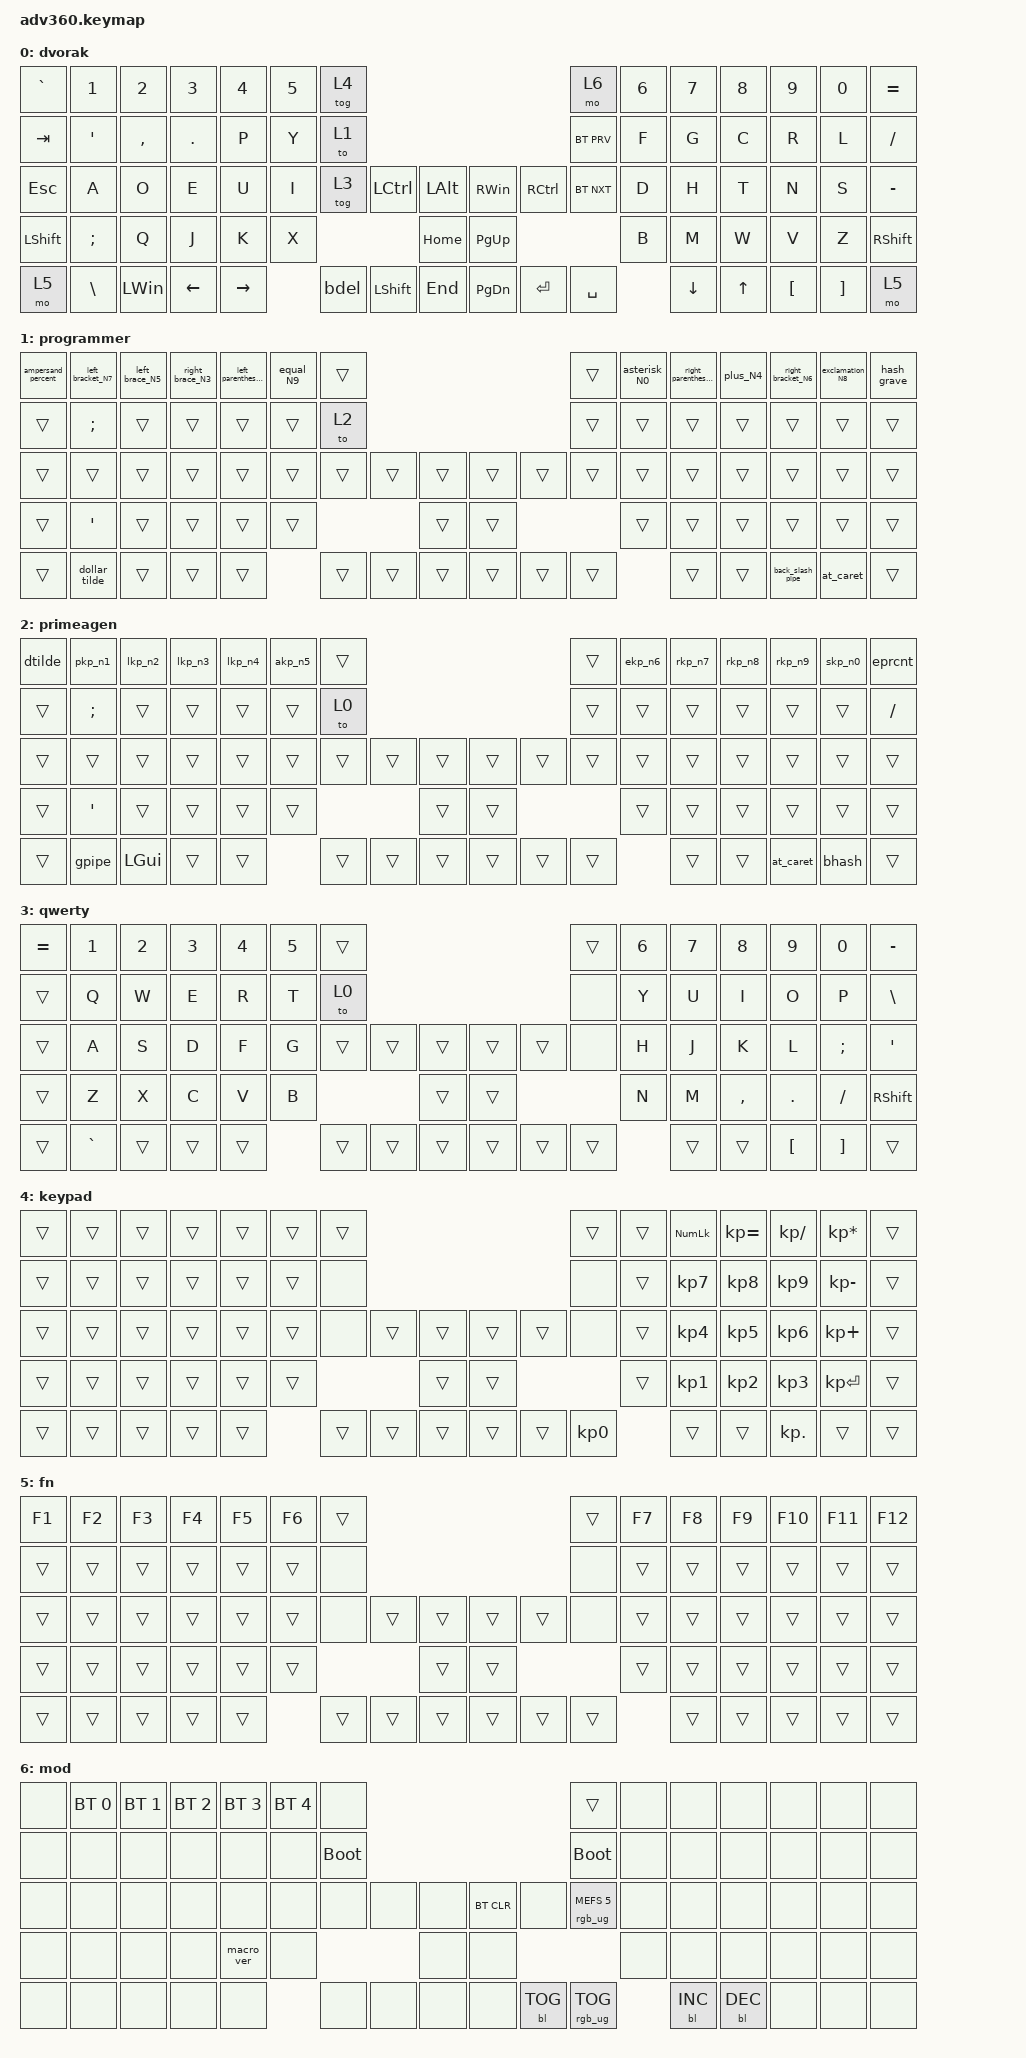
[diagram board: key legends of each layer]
#include <behaviors.dtsi>
#include <dt-bindings/zmk/backlight.h>
#include <dt-bindings/zmk/bt.h>
#include <dt-bindings/zmk/keys.h>
#include <dt-bindings/zmk/rgb.h>

/ {
    behaviors {
        #include "macros.dtsi"
      #include "version.dtsi"
      #ifndef VERSION_MACRO

        macro_ver: macro_ver {
            compatible = "zmk,behavior-macro";
            label = "macro_version";
            #binding-cells = <0>;
            bindings = <&kp RET>;
        };

        #endif

        hm: homerow_mods {
            compatible = "zmk,behavior-hold-tap";
            label = "HOMEROW_MODS";
            #binding-cells = <2>;
            tapping-term-ms = <200>;
            quick_tap_ms = <175>;
            flavor = "tap-preferred";
            bindings = <&kp>, <&kp>;
        };

        ampersand_percent: ampersand_percent {
            compatible = "zmk,behavior-mod-morph";
            label = "AMPERSAND_PERCENT";
            bindings = <&kp AMPERSAND>, <&kp PERCENT>;

            #binding-cells = <0>;
            mods = <(MOD_LSFT|MOD_RSFT)>;
        };

        left_bracket_N7: left_bracket_N7 {
            compatible = "zmk,behavior-mod-morph";
            label = "LEFT_BRACKET_N7";
            bindings = <&kp LEFT_BRACKET>, <&kp N7>;

            #binding-cells = <0>;
            mods = <(MOD_LSFT|MOD_RSFT)>;
        };

        left_brace_N5: left_brace_N5 {
            compatible = "zmk,behavior-mod-morph";
            label = "LEFT_BRACE_N5";
            bindings = <&kp LEFT_BRACE>, <&kp N5>;

            #binding-cells = <0>;
            mods = <(MOD_LSFT|MOD_RSFT)>;
        };

        right_brace_N3: right_brace_N3 {
            compatible = "zmk,behavior-mod-morph";
            label = "RIGHT_BRACE_N3";
            bindings = <&kp RIGHT_BRACE>, <&kp NUMBER_3>;

            #binding-cells = <0>;
            mods = <(MOD_LSFT|MOD_RSFT)>;
        };

        left_parenthesis_N1: left_parenthesis_N1 {
            compatible = "zmk,behavior-mod-morph";
            label = "LEFT_PARENTHESIS_N1";
            bindings = <&kp LEFT_PARENTHESIS>, <&kp NUMBER_1>;

            #binding-cells = <0>;
            mods = <(MOD_LSFT|MOD_RSFT)>;
        };

        equal_N9: equal_N9 {
            compatible = "zmk,behavior-mod-morph";
            label = "EQUAL_N9";
            bindings = <&kp EQUAL>, <&kp NUMBER_9>;

            #binding-cells = <0>;
            mods = <(MOD_LSFT|MOD_RSFT)>;
        };

        asterisk_N0: asterisk_N0 {
            compatible = "zmk,behavior-mod-morph";
            label = "ASTERISK_N0";
            bindings = <&kp ASTERISK>, <&kp NUMBER_0>;

            #binding-cells = <0>;
            mods = <(MOD_LSFT|MOD_RSFT)>;
        };

        right_parenthesis_N2: right_parenthesis_N2 {
            compatible = "zmk,behavior-mod-morph";
            label = "RIGHT_PARENTHESIS_N2";
            bindings = <&kp RIGHT_PARENTHESIS>, <&kp NUMBER_2>;

            #binding-cells = <0>;
            mods = <(MOD_LSFT|MOD_RSFT)>;
        };

        plus_N4: plus_N4 {
            compatible = "zmk,behavior-mod-morph";
            label = "PLUS_N4";
            bindings = <&kp PLUS>, <&kp NUMBER_4>;

            #binding-cells = <0>;
            mods = <(MOD_LSFT|MOD_RSFT)>;
        };

        right_bracket_N6: right_bracket_N6 {
            compatible = "zmk,behavior-mod-morph";
            label = "RIGHT_BRACKET_N6";
            bindings = <&kp RIGHT_BRACKET>, <&kp NUMBER_6>;

            #binding-cells = <0>;
            mods = <(MOD_LSFT|MOD_RSFT)>;
        };

        exclamation_N8: exclamation_N8 {
            compatible = "zmk,behavior-mod-morph";
            label = "EXCLAMATION_N8";
            bindings = <&kp EXCLAMATION>, <&kp NUMBER_8>;

            #binding-cells = <0>;
            mods = <(MOD_LSFT|MOD_RSFT)>;
        };

        hash_grave: hash_grave {
            compatible = "zmk,behavior-mod-morph";
            label = "HASH_GRAVE";
            bindings = <&kp HASH>, <&kp GRAVE>;

            #binding-cells = <0>;
            mods = <(MOD_LSFT|MOD_RSFT)>;
        };

        dollar_tilde: dollar_tilde {
            compatible = "zmk,behavior-mod-morph";
            label = "DOLLAR_TILDE";
            bindings = <&kp DOLLAR>, <&kp TILDE>;

            #binding-cells = <0>;
            mods = <(MOD_LSFT|MOD_RSFT)>;
        };

        back_slash_pipe: back_slash_pipe {
            compatible = "zmk,behavior-mod-morph";
            label = "BACK_SLASH_PIPE";
            bindings = <&kp BACKSLASH>, <&kp PIPE>;

            #binding-cells = <0>;
            mods = <(MOD_LSFT|MOD_RSFT)>;
        };

        at_caret: at_caret {
            compatible = "zmk,behavior-mod-morph";
            label = "AT_CARET";
            bindings = <&kp AT>, <&kp CARET>;

            #binding-cells = <0>;
            mods = <(MOD_LSFT|MOD_RSFT)>;
        };

        gpipe: gpipe {
            compatible = "zmk,behavior-mod-morph";
            label = "grave_pipe";
            bindings = <&kp GRAVE>, <&kp PIPE>;

            #binding-cells = <0>;
            mods = <(MOD_LSFT|MOD_RSFT)>;
        };

        ppipe: ppipe {
            compatible = "zmk,behavior-mod-morph";
            label = "pipe_pipe";
            bindings = <&kp PIPE>, <&kp PIPE>;

            #binding-cells = <0>;
            mods = <(MOD_LSFT|MOD_RSFT)>;
        };

        pkp_n1: pkp_n1 {
            compatible = "zmk,behavior-mod-morph";
            label = "plus_n1";
            bindings = <&kp N1>, <&kp PLUS>;

            #binding-cells = <0>;
            mods = <(MOD_LSFT|MOD_RSFT)>;
        };

        lkp_n2: lkp_n2 {
            compatible = "zmk,behavior-mod-morph";
            label = "left_bracket_n2";
            bindings = <&kp N2>, <&kp LEFT_BRACKET>;

            #binding-cells = <0>;
            mods = <(MOD_LSFT|MOD_RSFT)>;
        };

        lkp_n3: lkp_n3 {
            compatible = "zmk,behavior-mod-morph";
            label = "left_brace_n3";
            bindings = <&kp N3>, <&kp LEFT_BRACE>;

            #binding-cells = <0>;
            mods = <(MOD_LSFT|MOD_RSFT)>;
        };

        lkp_n4: lkp_n4 {
            compatible = "zmk,behavior-mod-morph";
            label = "left_paren_n4";
            bindings = <&kp N4>, <&kp LEFT_PARENTHESIS>;

            #binding-cells = <0>;
            mods = <(MOD_LSFT|MOD_RSFT)>;
        };

        akp_n5: akp_n5 {
            compatible = "zmk,behavior-mod-morph";
            label = "ampersand_n5";
            bindings = <&kp N5>, <&kp AMPERSAND>;

            #binding-cells = <0>;
            mods = <(MOD_LSFT|MOD_RSFT)>;
        };

        ekp_n6: ekp_n6 {
            compatible = "zmk,behavior-mod-morph";
            label = "equal_n6";
            bindings = <&kp N6>, <&kp EQUAL>;

            #binding-cells = <0>;
            mods = <(MOD_LSFT|MOD_RSFT)>;
        };

        rkp_n7: rkp_n7 {
            compatible = "zmk,behavior-mod-morph";
            label = "right_paren_n7";
            bindings = <&kp N7>, <&kp RIGHT_PARENTHESIS>;

            #binding-cells = <0>;
            mods = <(MOD_LSFT|MOD_RSFT)>;
        };

        rkp_n8: rkp_n8 {
            compatible = "zmk,behavior-mod-morph";
            label = "right_brace_n8";
            bindings = <&kp N8>, <&kp RIGHT_BRACE>;

            #binding-cells = <0>;
            mods = <(MOD_LSFT|MOD_RSFT)>;
        };

        rkp_n9: rkp_n9 {
            compatible = "zmk,behavior-mod-morph";
            label = "right_bracket_n9";
            bindings = <&kp N9>, <&kp RIGHT_BRACKET>;

            #binding-cells = <0>;
            mods = <(MOD_LSFT|MOD_RSFT)>;
        };

        skp_n0: skp_n0 {
            compatible = "zmk,behavior-mod-morph";
            label = "star_n0";
            bindings = <&kp N0>, <&kp ASTERISK>;

            #binding-cells = <0>;
            mods = <(MOD_LSFT|MOD_RSFT)>;
        };

        eprcnt: eprcnt {
            compatible = "zmk,behavior-mod-morph";
            label = "excl_percent";
            bindings = <&kp EXCLAMATION>, <&kp PERCENT>;

            #binding-cells = <0>;
            mods = <(MOD_LSFT|MOD_RSFT)>;
        };

        dtilde: dtilde {
            compatible = "zmk,behavior-mod-morph";
            label = "dllr_tilde";
            bindings = <&kp DOLLAR>, <&kp TILDE>;

            #binding-cells = <0>;
            mods = <(MOD_LSFT|MOD_RSFT)>;
        };

        ggrave: ggrave {
            compatible = "zmk,behavior-mod-morph";
            label = "grave_grave";
            bindings = <&kp GRAVE>, <&kp GRAVE>;

            #binding-cells = <0>;
            mods = <(MOD_LSFT|MOD_RSFT)>;
        };

        bhash: bhash {
            compatible = "zmk,behavior-mod-morph";
            label = "bslsh_hash";
            bindings = <&kp BACKSLASH>, <&kp HASH>;

            #binding-cells = <0>;
            mods = <(MOD_LSFT|MOD_RSFT)>;
        };

        bdel: bdel {
            compatible = "zmk,behavior-mod-morph";
            label = "back_del";
            bindings = <&kp BACKSPACE>, <&kp DELETE>;

            #binding-cells = <0>;
            mods = <(MOD_LSFT|MOD_RSFT)>;
        };

        rph: right_positionalhold {
            compatible = "zmk,behavior-hold-tap";
            label = "RIGHT_POSITIONALHOLD";
            bindings = <&kp>, <&kp>;

            #binding-cells = <2>;
            tapping-term-ms = <400>;
            quick-tap-ms = <200>;
            hold-trigger-key-positions = <1 2 3 4 5 15 16 17 18 19 29 30 31 32 33 47 48 49 50 51 61 62 0 63 64 35 36 52 65 66 67 6 20 34 14 28 46 60>;
            flavor = "balanced";
        };

        lph: left_positionalhold {
            compatible = "zmk,behavior-hold-tap";
            label = "LEFT_POSITIONALHOLD";
            bindings = <&kp>, <&kp>;

            #binding-cells = <2>;
            tapping-term-ms = <400>;
            quick-tap-ms = <200>;
            hold-trigger-key-positions = <8 9 10 11 12 22 23 24 25 26 40 41 42 43 44 54 55 56 57 58 13 74 73 72 71 27 45 7 21 39 37 38 53 68 69 70 59 75>;
            flavor = "balanced";
        };

        long_hm: long_hm {
            compatible = "zmk,behavior-hold-tap";
            label = "LONG_HM";
            #binding-cells = <2>;
            tapping-term-ms = <300>;
            quick_tap_ms = <175>;
            flavor = "tap-preferred";
            bindings = <&kp>, <&kp>;
        };
    };

    macros {
    };

    keymap {
        compatible = "zmk,keymap";

        dvorak {
            bindings = <
&kp GRAVE  &kp N1         &kp N2        &kp N3    &kp N4     &kp N5  &tog 4                                                          &mo 6       &kp N6  &kp N7    &kp N8        &kp N9    &kp N0    &kp EQUAL
&kp TAB    &kp SQT        &kp COMMA     &kp DOT   &kp P      &kp Y   &to 1                                                           &bt BT_PRV  &kp F   &kp G     &kp C         &kp R     &kp L     &kp FSLH
&kp ESC    &kp A          &kp O         &kp E     &kp U      &kp I   &tog 3  &kp LCTRL       &kp LALT      &kp RIGHT_WIN  &kp RCTRL  &bt BT_NXT  &kp D   &kp H     &kp T         &kp N     &kp S     &kp MINUS
&kp LSHFT  &kp SEMI       &kp Q         &kp J     &kp K      &kp X                           &kp HOME      &kp PG_UP                             &kp B   &kp M     &kp W         &kp V     &kp Z     &kp RSHFT
&mo 5      &kp BACKSLASH  &kp LEFT_WIN  &kp LEFT  &kp RIGHT          &bdel   &kp LEFT_SHIFT  &kp END       &kp PG_DN      &kp ENTER  &kp SPACE           &kp DOWN  &kp UP_ARROW  &kp LBKT  &kp RBKT  &mo 5
            >;
        };

        programmer {
            bindings = <
&ampersand_percent  &left_bracket_N7  &left_brace_N5  &right_brace_N3  &left_parenthesis_N1  &equal_N9  &trans                                      &trans  &asterisk_N0  &right_parenthesis_N2  &plus_N4  &right_bracket_N6  &exclamation_N8  &hash_grave
&trans              &kp SEMI          &trans          &trans           &trans                &trans     &to 2                                       &trans  &trans        &trans                 &trans    &trans             &trans           &trans
&trans              &trans            &trans          &trans           &trans                &trans     &trans  &trans  &trans      &trans  &trans  &trans  &trans        &trans                 &trans    &trans             &trans           &trans
&trans              &kp SQT           &trans          &trans           &trans                &trans                     &trans      &trans                  &trans        &trans                 &trans    &trans             &trans           &trans
&trans              &dollar_tilde     &trans          &trans           &trans                           &trans  &trans  &trans      &trans  &trans  &trans                &trans                 &trans    &back_slash_pipe   &at_caret        &trans
            >;
        };

        primeagen {
            bindings = <
&dtilde  &pkp_n1   &lkp_n2       &lkp_n3  &lkp_n4  &akp_n5  &trans                                      &trans  &ekp_n6  &rkp_n7  &rkp_n8  &rkp_n9    &skp_n0  &eprcnt
&trans   &kp SEMI  &trans        &trans   &trans   &trans   &to 0                                       &trans  &trans   &trans   &trans   &trans     &trans   &kp SLASH
&trans   &trans    &trans        &trans   &trans   &trans   &trans  &trans  &trans      &trans  &trans  &trans  &trans   &trans   &trans   &trans     &trans   &trans
&trans   &kp APOS  &trans        &trans   &trans   &trans                   &trans      &trans                  &trans   &trans   &trans   &trans     &trans   &trans
&trans   &gpipe    &kp LEFT_GUI  &trans   &trans            &trans  &trans  &trans      &trans  &trans  &trans           &trans   &trans   &at_caret  &bhash   &trans
            >;
        };

        qwerty {
            bindings = <
&kp EQUAL  &kp N1     &kp N2  &kp N3  &kp N4  &kp N5  &trans                                      &trans  &kp N6  &kp N7  &kp N8     &kp N9    &kp N0    &kp MINUS
&trans     &kp Q      &kp W   &kp E   &kp R   &kp T   &to 0                                       &none   &kp Y   &kp U   &kp I      &kp O     &kp P     &kp BSLH
&trans     &kp A      &kp S   &kp D   &kp F   &kp G   &trans  &trans  &trans      &trans  &trans  &none   &kp H   &kp J   &kp K      &kp L     &kp SEMI  &kp SQT
&trans     &kp Z      &kp X   &kp C   &kp V   &kp B                   &trans      &trans                  &kp N   &kp M   &kp COMMA  &kp DOT   &kp FSLH  &kp RSHFT
&trans     &kp GRAVE  &trans  &trans  &trans          &trans  &trans  &trans      &trans  &trans  &trans          &trans  &trans     &kp LBKT  &kp RBKT  &trans
            >;
        };

        keypad {
            bindings = <
&trans  &trans  &trans  &trans  &trans  &trans  &trans                                      &trans           &trans  &kp KP_NUM  &kp KP_EQUAL  &kp KP_DIVIDE  &kp KP_MULTIPLY  &trans
&trans  &trans  &trans  &trans  &trans  &trans  &none                                       &none            &trans  &kp KP_N7   &kp KP_N8     &kp KP_N9      &kp KP_MINUS     &trans
&trans  &trans  &trans  &trans  &trans  &trans  &none   &trans  &trans      &trans  &trans  &none            &trans  &kp KP_N4   &kp KP_N5     &kp KP_N6      &kp KP_PLUS      &trans
&trans  &trans  &trans  &trans  &trans  &trans                  &trans      &trans                           &trans  &kp KP_N1   &kp KP_N2     &kp KP_N3      &kp KP_ENTER     &trans
&trans  &trans  &trans  &trans  &trans          &trans  &trans  &trans      &trans  &trans  &kp KP_NUMBER_0          &trans      &trans        &kp KP_DOT     &trans           &trans
            >;
        };

        fn {
            bindings = <
&kp F1  &kp F2  &kp F3  &kp F4  &kp F5  &kp F6  &trans                                      &trans  &kp F7  &kp F8  &kp F9  &kp F10  &kp F11  &kp F12
&trans  &trans  &trans  &trans  &trans  &trans  &none                                       &none   &trans  &trans  &trans  &trans   &trans   &trans
&trans  &trans  &trans  &trans  &trans  &trans  &none   &trans  &trans      &trans  &trans  &none   &trans  &trans  &trans  &trans   &trans   &trans
&trans  &trans  &trans  &trans  &trans  &trans                  &trans      &trans                  &trans  &trans  &trans  &trans   &trans   &trans
&trans  &trans  &trans  &trans  &trans          &trans  &trans  &trans      &trans  &trans  &trans          &trans  &trans  &trans   &trans   &trans
            >;
        };

        mod {
            bindings = <
&none  &bt BT_SEL 0  &bt BT_SEL 1  &bt BT_SEL 2  &bt BT_SEL 3  &bt BT_SEL 4  &none                                                  &trans                  &none  &none       &none       &none  &none  &none
&none  &none         &none         &none         &none         &none         &bootloader                                            &bootloader             &none  &none       &none       &none  &none  &none
&none  &none         &none         &none         &none         &none         &none        &none  &none      &bt BT_CLR  &none       &rgb_ug RGB_MEFS_CMD 5  &none  &none       &none       &none  &none  &none
&none  &none         &none         &none         &macro_ver    &none                             &none      &none                                           &none  &none       &none       &none  &none  &none
&none  &none         &none         &none         &none                       &none        &none  &none      &none       &bl BL_TOG  &rgb_ug RGB_TOG                &bl BL_INC  &bl BL_DEC  &none  &none  &none
            >;
        };
    };
};
